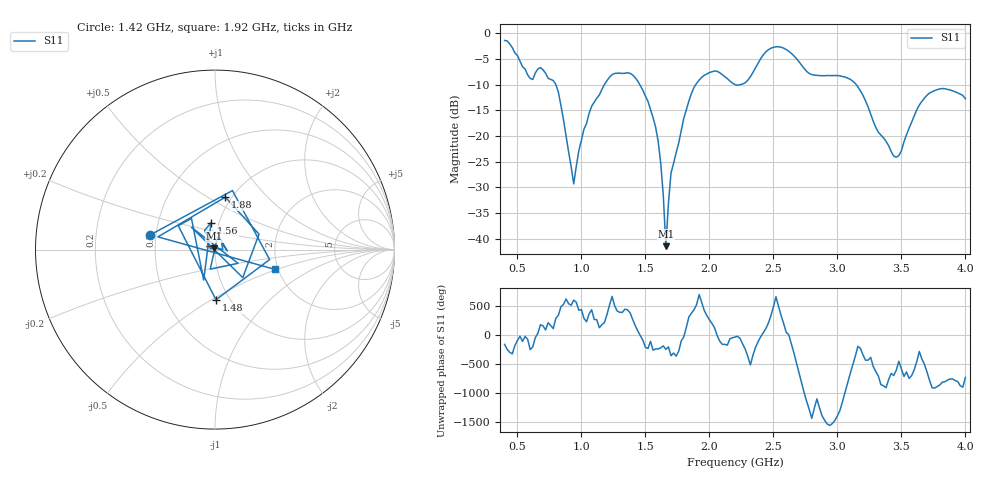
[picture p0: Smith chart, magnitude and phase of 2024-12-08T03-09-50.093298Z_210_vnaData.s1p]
!Created with skrf (http://scikit-rf.org).
# Hz S RI R 50.0
!freq ReS11 ImS11
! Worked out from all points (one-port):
!   181 points, 400 MHz to 4 GHz, reference 50 ohm
!   lowest |S11| = -41.5 dB at 1.66 GHz (marker M1), VSWR 1.02, Z = 49.7 + j0.783 ohm
!   |S11| at or under -10 dB: 800.5 MHz to 1.179 GHz (378.9 MHz wide, 38.3 % of centre); 1.456 GHz to 1.893 GHz (437.5 MHz wide, 26.1 % of centre); 3.147 GHz to end of sweep (the widest 3 of 4)
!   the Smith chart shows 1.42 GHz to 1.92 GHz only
!   S11 on the Smith chart (normalised r, x): 1.42 GHz: 0.46, +0.09; 1.48 GHz: 0.86, -0.52; 1.56 GHz: 0.92, +0.28; 1.88 GHz: 0.94, +0.60; 1.92 GHz: 1.92, -0.48
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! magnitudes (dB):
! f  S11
! 400 MHz  -1.4
! 600 MHz  -8.8
! 680 MHz  -6.7
! 780 MHz  -9.2
! 860 MHz  -16.8
! 940 MHz  -29.3
! 980 MHz  -22.9
! 1.08 GHz  -14.2
! 1.3 GHz  -7.7
! 1.42 GHz  -8.6
! 1.48 GHz  -11.1
! 1.56 GHz  -16.4
! 1.62 GHz  -25.4
! 1.66 GHz  -41.5
! 1.7 GHz  -27.2
! 1.76 GHz  -21.4
! 1.88 GHz  -10.5
! 1.92 GHz  -9.1
! 2.06 GHz  -7.4
! 2.2 GHz  -10.0
! 2.48 GHz  -2.9
! 2.66 GHz  -4.4
! 2.8 GHz  -8.0
! 3.1 GHz  -9.0
! 3.44 GHz  -23.9
! 3.56 GHz  -18.5
! 3.72 GHz  -11.6
! 4 GHz  -12.7
